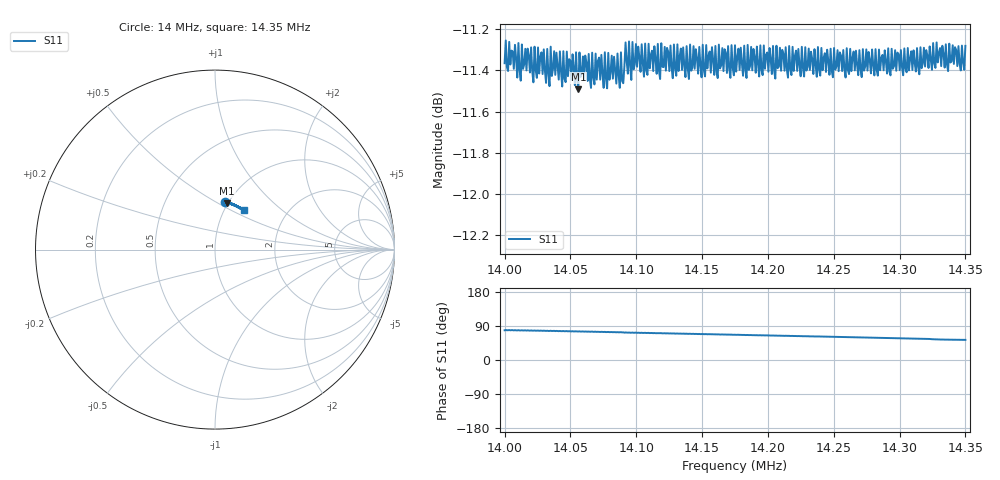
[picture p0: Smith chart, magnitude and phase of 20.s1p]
# Hz S RI R 50
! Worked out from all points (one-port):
!   401 points, 14 MHz to 14.35 MHz, reference 50 ohm
!   lowest |S11| = -11.5 dB at 14.056 MHz (marker M1), VSWR 1.73, Z = 49.7 + j27.5 ohm
!   |S11| at or under -10 dB: start of sweep to end of sweep
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1.4e7  0.0539 0.2648
1.4007e7  0.0552 0.2637
1.401312e7  0.0543 0.2676
1.401662e7  0.0577 0.2629
1.402275e7  0.0569 0.2667
1.402888e7  0.0608 0.2616
1.403238e7  0.0598 0.2658
1.40385e7  0.0637 0.2608
1.404375e7  0.0641 0.2589
1.4056e7  0.0679 0.2575
1.40875e7  0.0774 0.255
1.408925e7  0.0789 0.2556
1.409275e7  0.0825 0.2576
1.409712e7  0.0829 0.2606
1.410062e7  0.0849 0.256
1.410675e7  0.0858 0.2594
1.411288e7  0.0885 0.2541
1.411638e7  0.089 0.2583
1.41225e7  0.0913 0.2532
1.413125e7  0.0937 0.2565
1.4175e7  0.1079 0.2507
1.421875e7  0.1215 0.2442
1.42625e7  0.135 0.2366
1.430625e7  0.1486 0.2285
1.432112e7  0.1528 0.2243
1.433162e7  0.1586 0.2183
1.434738e7  0.1637 0.2184
1.435e7  0.1639 0.2182
